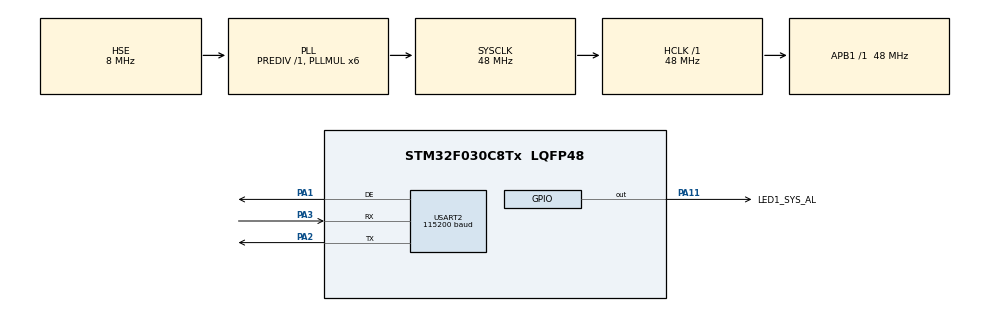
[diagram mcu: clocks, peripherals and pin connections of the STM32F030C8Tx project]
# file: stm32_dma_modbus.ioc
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Dma.Request0=USART2_RX
Dma.Request1=USART2_TX
Dma.USART2_RX.0.Direction=DMA_PERIPH_TO_MEMORY
Dma.USART2_RX.0.Instance=DMA1_Channel5
Dma.USART2_RX.0.MemDataAlignment=DMA_MDATAALIGN_BYTE
Dma.USART2_RX.0.MemInc=DMA_MINC_ENABLE
Dma.USART2_RX.0.Mode=DMA_NORMAL
Dma.USART2_RX.0.PeriphDataAlignment=DMA_PDATAALIGN_BYTE
Dma.USART2_RX.0.PeriphInc=DMA_PINC_DISABLE
Dma.USART2_RX.0.Priority=DMA_PRIORITY_LOW
Dma.USART2_TX.1.Direction=DMA_MEMORY_TO_PERIPH
Dma.USART2_TX.1.Instance=DMA1_Channel4
Dma.USART2_TX.1.MemDataAlignment=DMA_MDATAALIGN_BYTE
Dma.USART2_TX.1.MemInc=DMA_MINC_ENABLE
Dma.USART2_TX.1.Mode=DMA_NORMAL
Dma.USART2_TX.1.PeriphDataAlignment=DMA_PDATAALIGN_BYTE
Dma.USART2_TX.1.PeriphInc=DMA_PINC_DISABLE
Dma.USART2_TX.1.Priority=DMA_PRIORITY_LOW
Mcu.Family=STM32F0
Mcu.Name=STM32F030C8Tx
Mcu.Package=LQFP48
NVIC.DMA1_Channel4_5_IRQn=true\:0\:0\:false\:false\:true\:false\:true\:true
NVIC.USART2_IRQn=true\:0\:0\:false\:false\:true\:false\:true\:true
PA1.Mode=Hardware Flow Control (RS485)
PA1.Signal=USART2_DE
PA11.GPIO_Label=LED1_SYS_AL
PA11.Signal=GPIO_Output
PA13.Mode=Serial_Wire
PA13.Signal=SYS_SWDIO
PA14.Mode=Serial_Wire
PA14.Signal=SYS_SWCLK
PA2.Mode=Asynchronous
PA2.Signal=USART2_TX
PA3.Mode=Asynchronous
PA3.Signal=USART2_RX
PF0-OSC_IN.Mode=HSE-External-Oscillator
PF0-OSC_IN.Signal=RCC_OSC_IN
PF1-OSC_OUT.Mode=HSE-External-Oscillator
PF1-OSC_OUT.Signal=RCC_OSC_OUT
ProjectManager.HeapSize=0x200
ProjectManager.StackSize=0x400
ProjectManager.TargetToolchain=STM32CubeIDE
RCC.AHBFreq_Value=48000000
RCC.APB1Freq_Value=48000000
RCC.APB1TimFreq_Value=48000000
RCC.HCLKFreq_Value=48000000
RCC.PLLMUL=RCC_PLL_MUL6
RCC.PLLSourceVirtual=RCC_PLLSOURCE_HSE
RCC.SYSCLKFreq_VALUE=48000000
RCC.SYSCLKSource=RCC_SYSCLKSOURCE_PLLCLK
USART2.BaudRate=115200
USART2.DMADisableonRxErrorParam=ADVFEATURE_DMA_DISABLEONRXERROR
USART2.OverrunDisableParam=ADVFEATURE_OVERRUN_DISABLE
USART2.VirtualMode-Asynchronous=VM_ASYNC
USART2.VirtualMode-Hardware\ Flow\ Control\ (RS485)=VM_ASYNC
board=custom

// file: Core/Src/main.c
/* USER CODE BEGIN Header */
/**
 ******************************************************************************
 * @file           : main.c
 * @brief          : Main program body
 ******************************************************************************
 * @attention
 *
 This example application sets up an RTU server and handles modbus requests
 used HAL stm32 in DMA mode

 This server supports the following function codes:
 FC 01 (0x01) Read Coils
 FC 03 (0x03) Read Holding Registers
 FC 15 (0x0F) Write Multiple Coils
 FC 16 (0x10) Write Multiple registers

 *
 ******************************************************************************
 */
/* USER CODE END Header */
#include "main.h"
#include "dma.h"
#include "usart.h"
#include "gpio.h"

/* USER CODE BEGIN Includes */
#include "nanomodbus.h"

/* USER CODE END Includes */

/* USER CODE BEGIN PD */

#ifdef NMBS_DEBUG
#include <stdio.h>
#define NMBS_DEBUG_PRINT(...) printf(__VA_ARGS__)
#else
#define NMBS_DEBUG_PRINT(...) (void) (0)
#endif

/* USER CODE END PD */

void SystemClock_Config(void);
/* USER CODE BEGIN PFP */
void msg_rec_reset(nmbs_t*);
void modbus_receive_DMA(nmbs_t*, UART_HandleTypeDef*);

/* USER CODE END PFP */

/* USER CODE BEGIN 0 */

// The data model of this sever will support coils addresses 0 to 100 and registers addresses from 0 to 32
#define COILS_ADDR_MAX 100
#define REGS_ADDR_MAX 32

// Our RTU address
#define RTU_SERVER_ADDRESS 1

nmbs_t nmbs;
nmbs_platform_conf platform_conf;
nmbs_callbacks callbacks = { 0 };
nmbs_bitfield_256 server_coils = { 0 };
uint16_t server_registers[REGS_ADDR_MAX] = { 0 };

volatile uint8_t packet_sended = 0;

/**
 * @brief reading from the same buff[] where everything was read via DMA
 * @retval num bytes readed
 */

int32_t read_from_buf(uint8_t *buf, uint16_t count, int32_t byte_timeout_ms,
		void *arg) {

//buf_rec how many DMA put bytes into the nmbs queue
//buf_idx this is a counter of bytes already taken by the protocol
//therefore, there is no need to add/transfer anything to the buf[] - everything is already in its place
//USART monitors timeouts by hardware
	return ((nmbs.msg.buf_rec - nmbs.msg.buf_idx - count) >= 0 ?
			count : (nmbs.msg.buf_rec - nmbs.msg.buf_idx));
}
/**
 * @brief setting the DMA reception mode
 * @retval
 */

void modbus_receive_DMA(nmbs_t *nmbs_rec, UART_HandleTypeDef *huart) {
	msg_rec_reset(nmbs_rec);
//Receive an amount of data in DMA mode till either the expected number of data is received or an IDLE event occurs
	if (HAL_UARTEx_ReceiveToIdle_DMA(huart, nmbs_rec->msg.buf,
			sizeof(nmbs_rec->msg.buf)) != HAL_OK) //
			{
		NMBS_DEBUG_PRINT("HAL_UARTEx_ReceiveToIdle_DMA error\n");
		//Error_Handler();
	}
}

/**
 * @brief sending data using DMA
 * @retval
 */
int32_t modbus_send_DMA(const uint8_t *buf, uint16_t count,
		int32_t byte_timeout_ms, void *arg) {
	packet_sended = 1; //set flag sended packet
	if (HAL_UART_Transmit_DMA(&huart2, buf, count) != HAL_OK) {
		NMBS_DEBUG_PRINT("HAL_UART_Transmit_DMA error\n");
	}
	return count;
}

/**
 * @brief reset the counter of received bytes in the buffer
 * @retval
 */
void msg_rec_reset(nmbs_t *nmbs) {
	nmbs->msg.buf_rec = 0;
}
/**
 * @brief set the counter of received bytes to the buffer using DMA
 * @retval
 */
void msg_buf_set(nmbs_t *nmbs, uint32_t length) {
	nmbs->msg.buf_rec = length;
}

/**
 * @brief The HAL_UART_TxCpltCallback() user callbacks
 *         will be executed respectively at the end of the transmit process
 *         When this event occurs, the DMA receive mode must be set
 * @retval
 */

void HAL_UART_TxCpltCallback(UART_HandleTypeDef *huart) {

	if (huart == &huart2) {
		modbus_receive_DMA(&nmbs, huart);
	}
}

/**

 * @brief  Reception Event Callback (Rx event notification called after use of advanced reception service).
 * @param  huart UART handle
 * @param  Size  Number of data available in application reception buffer (indicates a position in
 *               reception buffer until which, data are available)
 */

void HAL_UARTEx_RxEventCallback(UART_HandleTypeDef *huart, uint16_t Size) {
	if (huart == &huart2) {

		switch (HAL_UARTEx_GetRxEventType(huart)) {
		case HAL_UART_RXEVENT_IDLE: //when Idle event occurred prior reception has been completed (nb of received data is lower than expected one).
			packet_sended = 0; // clear flag of transmit
			msg_buf_set(&nmbs, Size); //set size of received data
			nmbs_error res_poll = nmbs_server_poll(&nmbs);
			if (NMBS_ERROR_NONE != res_poll) {
				// This will probably never happen, since we don't return < 0 in our platform funcs
				NMBS_DEBUG_PRINT(
						"nmbs_server_poll error:%d size of receive:%d\n",
						(int8_t ) res_poll, Size);
				NMBS_DEBUG_PRINT("%s\n", nmbs_strerror(res_poll));
				modbus_receive_DMA(&nmbs, huart);
			} else {
				//If there was no packet transmission, then we immediately switch to receive mode. Otherwise, this function will trigger an interrupt at the end of DMA packet transmission
				if (!packet_sended)
					modbus_receive_DMA(&nmbs, huart);
			}
			break;
		}

	}

}
/**
 * @brief  UART error callbacks
 * @param  UartHandle: UART handle
 * @note   This example shows a simple way to report transfer error, and you can
 *         add your own implementation.
 * @retval None
 */
void HAL_UART_ErrorCallback(UART_HandleTypeDef *UartHandle) {
//Error_Handler();
	NMBS_DEBUG_PRINT(
			"HAL_UART_ErrorCallback Some report transfer error RS-485 %d\n",
			(uint16_t )UartHandle->ErrorCode);
	// @todo Extend error handling as you see fit
	modbus_receive_DMA(&nmbs, UartHandle);
}

nmbs_error handle_read_coils(uint16_t address, uint16_t quantity,
		nmbs_bitfield coils_out, uint8_t unit_id, void *arg) {
	if (address + quantity > COILS_ADDR_MAX + 1)
		return NMBS_EXCEPTION_ILLEGAL_DATA_ADDRESS;

	// Read our coils values into coils_out
	for (int i = 0; i < quantity; i++) {
		bool value = nmbs_bitfield_read(server_coils, address + i);
		nmbs_bitfield_write(coils_out, i, value);
	}

	return NMBS_ERROR_NONE;
}

nmbs_error handle_write_multiple_coils(uint16_t address, uint16_t quantity,
		const nmbs_bitfield coils, uint8_t unit_id, void *arg) {
	if (address + quantity > COILS_ADDR_MAX + 1)
		return NMBS_EXCEPTION_ILLEGAL_DATA_ADDRESS;

	// Write coils values to our server_coils
	for (int i = 0; i < quantity; i++) {
		nmbs_bitfield_write(server_coils, address + i,
				nmbs_bitfield_read(coils, i));
	}

	return NMBS_ERROR_NONE;
}

nmbs_error handler_read_holding_registers(uint16_t address, uint16_t quantity,
		uint16_t *registers_out, uint8_t unit_id, void *arg) {
	if (address + quantity > REGS_ADDR_MAX + 1)
		return NMBS_EXCEPTION_ILLEGAL_DATA_ADDRESS;

	// Read our registers values into registers_out
	for (int i = 0; i < quantity; i++)
		registers_out[i] = server_registers[address + i];

	return NMBS_ERROR_NONE;
}

nmbs_error handle_write_multiple_registers(uint16_t address, uint16_t quantity,
		const uint16_t *registers, uint8_t unit_id, void *arg) {
	if (address + quantity > REGS_ADDR_MAX + 1)
		return NMBS_EXCEPTION_ILLEGAL_DATA_ADDRESS;

	// Write registers values to our server_registers
	for (int i = 0; i < quantity; i++)
		server_registers[address + i] = registers[i];

	return NMBS_ERROR_NONE;
}

void modbus_init() {
    nmbs_platform_conf_create(&platform_conf);
	platform_conf.transport = NMBS_TRANSPORT_RTU;
	platform_conf.read = read_from_buf;
	platform_conf.write = modbus_send_DMA;
	platform_conf.arg = NULL;

	callbacks.read_coils = handle_read_coils;
	callbacks.write_multiple_coils = handle_write_multiple_coils;
	callbacks.read_holding_registers = handler_read_holding_registers;
	callbacks.write_multiple_registers = handle_write_multiple_registers;

	// Create the modbus server
	nmbs_error err = nmbs_server_create(&nmbs, RTU_SERVER_ADDRESS,
			&platform_conf, &callbacks);
	if (err != NMBS_ERROR_NONE) {
		Error_Handler();
	}
}

/* USER CODE END 0 */

int main(void) {

	/* MCU Configuration--------------------------------------------------------*/

	/* Reset of all peripherals, Initializes the Flash interface and the Systick. */
	HAL_Init();

	/* Configure the system clock */
	SystemClock_Config();

	/* Initialize all configured peripherals */
	MX_GPIO_Init();
	MX_DMA_Init();
	MX_USART2_UART_Init();
	/* USER CODE BEGIN 2 */
	modbus_init();
	modbus_receive_DMA(&nmbs, &huart2);

	/* USER CODE END 2 */

	/* Infinite loop */
	while (1) {
		/* USER CODE BEGIN 3 */
		//Here you can add the logic of the main program. At this point, modbus communication is in interrupt mode and DMA
		RED_TOGGLE();
		HAL_Delay(500);

	}
	/* USER CODE END 3 */
}

void SystemClock_Config(void) {
	RCC_OscInitTypeDef RCC_OscInitStruct = { 0 };
	RCC_ClkInitTypeDef RCC_ClkInitStruct = { 0 };

	/** Initializes the RCC Oscillators according to the specified parameters
	 * in the RCC_OscInitTypeDef structure.
	 */
	RCC_OscInitStruct.OscillatorType = RCC_OSCILLATORTYPE_HSE;
	RCC_OscInitStruct.HSEState = RCC_HSE_ON;
	RCC_OscInitStruct.PLL.PLLState = RCC_PLL_ON;
	RCC_OscInitStruct.PLL.PLLSource = RCC_PLLSOURCE_HSE;
	RCC_OscInitStruct.PLL.PLLMUL = RCC_PLL_MUL6;
	RCC_OscInitStruct.PLL.PREDIV = RCC_PREDIV_DIV1;
	if (HAL_RCC_OscConfig(&RCC_OscInitStruct) != HAL_OK) {
		Error_Handler();
	}

	/** Initializes the CPU, AHB and APB buses clocks
	 */
	RCC_ClkInitStruct.ClockType = RCC_CLOCKTYPE_HCLK | RCC_CLOCKTYPE_SYSCLK
			| RCC_CLOCKTYPE_PCLK1;
	RCC_ClkInitStruct.SYSCLKSource = RCC_SYSCLKSOURCE_PLLCLK;
	RCC_ClkInitStruct.AHBCLKDivider = RCC_SYSCLK_DIV1;
	RCC_ClkInitStruct.APB1CLKDivider = RCC_HCLK_DIV1;

	if (HAL_RCC_ClockConfig(&RCC_ClkInitStruct, FLASH_LATENCY_1) != HAL_OK) {
		Error_Handler();
	}
}

void Error_Handler(void) {
	__disable_irq();
	while (1) {
	}
}
